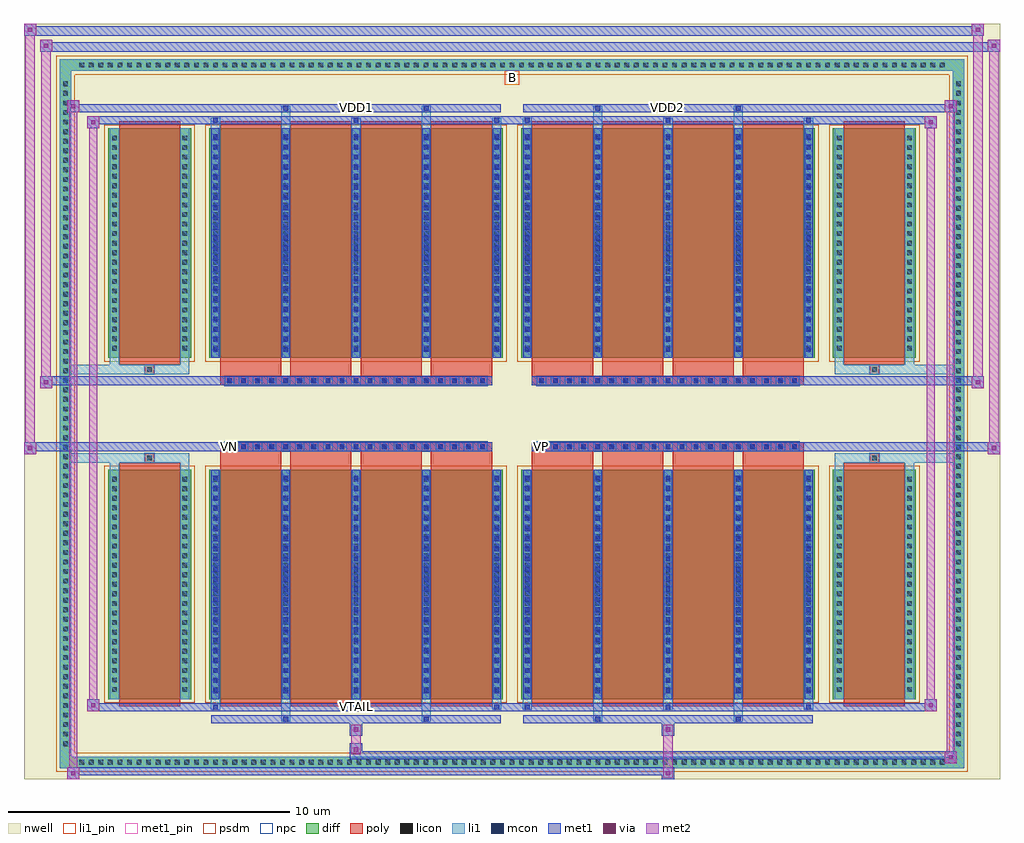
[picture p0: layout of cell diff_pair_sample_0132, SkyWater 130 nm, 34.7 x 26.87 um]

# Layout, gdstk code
import gdstk
lib = gdstk.Library(unit=1e-6, precision=5e-09)
def R(c, l, rs):  # rectangles x0, y0, x1, y1
    for r in rs: c.add(gdstk.rectangle(r[:2], r[2:], *l))
def A(c, l, x, y, w, h, nx, ny, dx, dy):  # array of equal rectangles
    R(c, l, [(x+i*dx, y+j*dy, x+i*dx+w, y+j*dy+h) for i in range(nx) for j in range(ny)])
def P(c, l, *ps):  # polygons
    for p in ps: c.add(gdstk.Polygon(p, *l))
nwell = (64, 20)
diff = (65, 20)
poly = (66, 20)
licon = (66, 44)
li1_pin = (67, 16)
li1 = (67, 20)
mcon = (67, 44)
met1_pin = (68, 16)
met1 = (68, 20)
via = (68, 44)
met2 = (69, 20)
psdm = (94, 20)
npc = (95, 20)

diff_pair_sample_0132 = lib.new_cell('diff_pair_sample_0132')
R(diff_pair_sample_0132, nwell, [(-17.35,-13,17.35,13.87), (-14.67,-11.19,-0.01,-0.805), (0.01,-11.19,14.67,-0.805), (-14.67,0.805,-0.01,11.19), (0.01,0.805,14.67,11.19)])
A(diff_pair_sample_0132, diff, -15.505, -12.6, 0.41, 0.41, 91, 2, 0.34, 24.79)
A(diff_pair_sample_0132, diff, -16.08, -11.935, 0.41, 0.41, 1, 70, 0, 0.34)
A(diff_pair_sample_0132, diff, 15.67, -11.935, 0.41, 0.41, 1, 70, 0, 0.34)
R(diff_pair_sample_0132, diff, [(-15.505,-12.6,15.505,-12.19), (-16.08,-11.935,-15.67,11.935), (15.67,-11.935,16.08,11.935), (-14.36,-10.145,-11.41,-1.985), (-10.77,-10.145,-0.32,-1.985), (0.32,-10.145,10.77,-1.985), (11.41,-10.145,14.36,-1.985), (-14.36,1.985,-11.41,10.145), (-10.77,1.985,-0.32,10.145), (0.32,1.985,10.77,10.145), (11.41,1.985,14.36,10.145), (-15.505,12.19,15.505,12.6)])
P(diff_pair_sample_0132, diff, [(16.08,12.6),(-16.08,12.6),(-16.08,-12.19),(-15.67,-12.19),(-15.67,12.19),(15.67,12.19),(15.67,-12.19),(-15.67,-12.19),(-16.08,-12.19),(-16.08,-12.6),(16.08,-12.6)])
A(diff_pair_sample_0132, poly, -10.38, -10.395, 2.17, 8.66, 4, 2, 2.5, 12.13)
A(diff_pair_sample_0132, poly, 0.71, -10.395, 2.17, 8.66, 4, 2, 2.5, 12.13)
A(diff_pair_sample_0132, poly, -10.38, -1.735, 2.17, 0.4, 4, 2, 2.5, 3.07)
A(diff_pair_sample_0132, poly, 0.71, -1.735, 2.17, 0.4, 4, 2, 2.5, 3.07)
A(diff_pair_sample_0132, poly, -10.21, -1.335, 0.33, 0.33, 19, 2, 0.5, 2.34)
A(diff_pair_sample_0132, poly, 0.88, -1.335, 0.33, 0.33, 19, 2, 0.5, 2.34)
R(diff_pair_sample_0132, poly, [(-13.97,-10.395,-11.8,-1.735), (11.8,-10.395,13.97,-1.735), (-13.05,-1.735,-12.72,-1.405), (-13.05,-1.735,-12.72,-1.405), (12.72,-1.735,13.05,-1.405), (12.72,-1.735,13.05,-1.405), (-10.38,-1.335,-0.71,-1.005), (0.71,-1.335,10.38,-1.005), (-10.38,1.005,-0.71,1.335), (0.71,1.005,10.38,1.335), (-13.05,1.405,-12.72,1.735), (-13.05,1.405,-12.72,1.735), (12.72,1.405,13.05,1.735), (12.72,1.405,13.05,1.735), (-13.97,1.735,-11.8,10.395), (11.8,1.735,13.97,10.395)])
A(diff_pair_sample_0132, licon, -15.385, -12.48, 0.17, 0.17, 91, 2, 0.34, 24.79)
A(diff_pair_sample_0132, licon, -15.96, -11.815, 0.17, 0.17, 1, 70, 0, 0.34)
A(diff_pair_sample_0132, licon, 15.79, -11.815, 0.17, 0.17, 1, 70, 0, 0.34)
A(diff_pair_sample_0132, licon, -14.22, -9.89, 0.17, 0.17, 1, 23, 0, 0.34)
A(diff_pair_sample_0132, licon, -11.72, -9.89, 0.17, 0.17, 1, 23, 0, 0.34)
A(diff_pair_sample_0132, licon, -10.63, -9.89, 0.17, 0.17, 5, 23, 2.5, 0.34)
A(diff_pair_sample_0132, licon, 0.46, -9.89, 0.17, 0.17, 5, 23, 2.5, 0.34)
A(diff_pair_sample_0132, licon, 11.55, -9.89, 0.17, 0.17, 1, 23, 0, 0.34)
A(diff_pair_sample_0132, licon, 14.05, -9.89, 0.17, 0.17, 1, 23, 0, 0.34)
A(diff_pair_sample_0132, licon, -10.13, -1.255, 0.17, 0.17, 19, 2, 0.5, 2.34)
A(diff_pair_sample_0132, licon, 0.96, -1.255, 0.17, 0.17, 19, 2, 0.5, 2.34)
A(diff_pair_sample_0132, licon, -14.22, 2.24, 0.17, 0.17, 1, 23, 0, 0.34)
A(diff_pair_sample_0132, licon, -11.72, 2.24, 0.17, 0.17, 1, 23, 0, 0.34)
A(diff_pair_sample_0132, licon, -10.63, 2.24, 0.17, 0.17, 5, 23, 2.5, 0.34)
A(diff_pair_sample_0132, licon, 0.46, 2.24, 0.17, 0.17, 5, 23, 2.5, 0.34)
A(diff_pair_sample_0132, licon, 11.55, 2.24, 0.17, 0.17, 1, 23, 0, 0.34)
A(diff_pair_sample_0132, licon, 14.05, 2.24, 0.17, 0.17, 1, 23, 0, 0.34)
R(diff_pair_sample_0132, licon, [(-12.97,-1.655,-12.8,-1.485), (12.8,-1.655,12.97,-1.485), (-12.97,1.485,-12.8,1.655), (12.8,1.485,12.97,1.655)])
R(diff_pair_sample_0132, li1_pin, [(-0.25,11.69,0.25,12.19)])
A(diff_pair_sample_0132, li1, -15.465, -12.56, 0.33, 0.33, 91, 2, 0.34, 24.79)
A(diff_pair_sample_0132, li1, -16.04, -11.895, 0.33, 0.33, 1, 70, 0, 0.34)
A(diff_pair_sample_0132, li1, 15.71, -11.895, 0.33, 0.33, 1, 70, 0, 0.34)
A(diff_pair_sample_0132, li1, -10.71, -10.52, 0.33, 0.375, 3, 2, 5, 20.665)
A(diff_pair_sample_0132, li1, -10.63, -10.52, 0.17, 0.17, 3, 2, 5, 20.87)
A(diff_pair_sample_0132, li1, 0.38, -10.52, 0.33, 0.375, 3, 2, 5, 20.665)
A(diff_pair_sample_0132, li1, 0.46, -10.52, 0.17, 0.17, 3, 2, 5, 20.87)
A(diff_pair_sample_0132, li1, -10.71, -10.145, 0.33, 8.16, 5, 2, 2.5, 12.13)
A(diff_pair_sample_0132, li1, 0.38, -10.145, 0.33, 8.16, 5, 2, 2.5, 12.13)
A(diff_pair_sample_0132, li1, -14.3, -9.97, 0.33, 0.33, 1, 23, 0, 0.34)
A(diff_pair_sample_0132, li1, -11.8, -9.97, 0.33, 0.33, 1, 23, 0, 0.34)
A(diff_pair_sample_0132, li1, -10.71, -9.97, 0.33, 0.33, 5, 23, 2.5, 0.34)
A(diff_pair_sample_0132, li1, 0.38, -9.97, 0.33, 0.33, 5, 23, 2.5, 0.34)
A(diff_pair_sample_0132, li1, 11.47, -9.97, 0.33, 0.33, 1, 23, 0, 0.34)
A(diff_pair_sample_0132, li1, 13.97, -9.97, 0.33, 0.33, 1, 23, 0, 0.34)
A(diff_pair_sample_0132, li1, -10.63, -9.93, 0.17, 0.17, 5, 22, 2.5, 0.36)
A(diff_pair_sample_0132, li1, -10.63, -9.93, 0.17, 7.73, 5, 2, 2.5, 12.13)
A(diff_pair_sample_0132, li1, 0.46, -9.93, 0.17, 0.17, 5, 22, 2.5, 0.36)
A(diff_pair_sample_0132, li1, 0.46, -9.93, 0.17, 7.73, 5, 2, 2.5, 12.13)
A(diff_pair_sample_0132, li1, -10.21, -1.335, 0.33, 0.33, 19, 2, 0.5, 2.34)
A(diff_pair_sample_0132, li1, 0.88, -1.335, 0.33, 0.33, 19, 2, 0.5, 2.34)
A(diff_pair_sample_0132, li1, -14.3, 2.16, 0.33, 0.33, 1, 23, 0, 0.34)
A(diff_pair_sample_0132, li1, -11.8, 2.16, 0.33, 0.33, 1, 23, 0, 0.34)
A(diff_pair_sample_0132, li1, -10.71, 2.16, 0.33, 0.33, 5, 23, 2.5, 0.34)
A(diff_pair_sample_0132, li1, 0.38, 2.16, 0.33, 0.33, 5, 23, 2.5, 0.34)
A(diff_pair_sample_0132, li1, 11.47, 2.16, 0.33, 0.33, 1, 23, 0, 0.34)
A(diff_pair_sample_0132, li1, 13.97, 2.16, 0.33, 0.33, 1, 23, 0, 0.34)
A(diff_pair_sample_0132, li1, -10.63, 2.2, 0.17, 0.17, 5, 22, 2.5, 0.36)
A(diff_pair_sample_0132, li1, 0.46, 2.2, 0.17, 0.17, 5, 22, 2.5, 0.36)
R(diff_pair_sample_0132, li1, [(-16.08,-12.6,-15.67,-12.19), (-16.08,-12.6,-15.67,-12.19), (-15.67,-12.6,15.67,-12.19), (15.67,-12.6,16.08,-12.19), (15.67,-12.6,16.08,-12.19), (-16.08,-12.19,-15.67,12.19), (15.67,-12.19,16.08,12.19), (-8.21,-10.95,-7.88,-10.145), (-8.13,-10.95,-7.96,-10.78), (-3.21,-10.95,-2.88,-10.145), (-3.13,-10.95,-2.96,-10.78), (2.88,-10.95,3.21,-10.145), (2.96,-10.95,3.13,-10.78), (7.88,-10.95,8.21,-10.145), (7.96,-10.95,8.13,-10.78), (-14.3,-10.145,-13.97,-1.985), (-11.8,-10.145,-11.47,-1.985), (11.47,-10.145,11.8,-1.985), (13.97,-10.145,14.3,-1.985), (-14.3,-1.985,-13.97,-1.405), (-11.8,-1.985,-11.47,-1.405), (11.47,-1.985,11.8,-1.405), (13.97,-1.985,14.3,-1.405), (-16.08,-1.735,-13.05,-1.405), (-14.3,-1.735,-13.05,-1.405), (-13.05,-1.735,-12.72,-1.405), (-12.72,-1.735,-11.47,-1.405), (11.47,-1.735,12.72,-1.405), (12.72,-1.735,13.05,-1.405), (12.72,-1.735,16.08,-1.405), (13.05,-1.735,14.3,-1.405), (-16.08,1.405,-13.05,1.735), (-14.3,1.405,-13.05,1.735), (-14.3,1.405,-13.97,1.985), (-13.05,1.405,-12.72,1.735), (-12.72,1.405,-11.47,1.735), (-11.8,1.405,-11.47,1.985), (11.47,1.405,12.72,1.735), (11.47,1.405,11.8,1.985), (12.72,1.405,13.05,1.735), (12.72,1.405,16.08,1.735), (13.05,1.405,14.3,1.735), (13.97,1.405,14.3,1.985), (-14.3,1.985,-13.97,10.145), (-11.8,1.985,-11.47,10.145), (11.47,1.985,11.8,10.145), (13.97,1.985,14.3,10.145), (-8.21,10.145,-7.88,10.95), (-3.21,10.145,-2.88,10.95), (2.88,10.145,3.21,10.95), (7.88,10.145,8.21,10.95), (-8.13,10.78,-7.96,10.95), (-3.13,10.78,-2.96,10.95), (2.96,10.78,3.13,10.95), (7.96,10.78,8.13,10.95), (-16.08,12.19,-15.67,12.6), (-16.08,12.19,-15.67,12.6), (-15.67,12.19,15.67,12.6), (15.67,12.19,16.08,12.6), (15.67,12.19,16.08,12.6)])
A(diff_pair_sample_0132, mcon, -10.63, -10.52, 0.17, 0.17, 3, 2, 5, 20.87)
A(diff_pair_sample_0132, mcon, 0.46, -10.52, 0.17, 0.17, 3, 2, 5, 20.87)
A(diff_pair_sample_0132, mcon, -10.63, -9.93, 0.17, 0.17, 5, 22, 2.5, 0.36)
A(diff_pair_sample_0132, mcon, 0.46, -9.93, 0.17, 0.17, 5, 22, 2.5, 0.36)
A(diff_pair_sample_0132, mcon, -10.13, -1.255, 0.17, 0.17, 19, 2, 0.5, 2.34)
A(diff_pair_sample_0132, mcon, 0.96, -1.255, 0.17, 0.17, 19, 2, 0.5, 2.34)
A(diff_pair_sample_0132, mcon, -10.63, 2.2, 0.17, 0.17, 5, 22, 2.5, 0.36)
A(diff_pair_sample_0132, mcon, 0.46, 2.2, 0.17, 0.17, 5, 22, 2.5, 0.36)
R(diff_pair_sample_0132, mcon, [(-8.13,-10.95,-7.96,-10.78), (-3.13,-10.95,-2.96,-10.78), (2.96,-10.95,3.13,-10.78), (7.96,-10.95,8.13,-10.78), (-8.13,10.78,-7.96,10.95), (-3.13,10.78,-2.96,10.95), (2.96,10.78,3.13,10.95), (7.96,10.78,8.13,10.95)])
R(diff_pair_sample_0132, met1_pin, [(-5.68,-10.56,-5.41,-10.29), (-10.18,-1.295,-9.91,-1.025), (0.91,-1.295,1.18,-1.025), (-5.68,10.74,-5.41,11.01), (5.41,10.74,5.68,11.01)])
A(diff_pair_sample_0132, met1, -10.69, -10.58, 0.29, 0.29, 3, 2, 5, 20.87)
A(diff_pair_sample_0132, met1, 0.4, -10.58, 0.29, 0.29, 3, 2, 5, 20.87)
A(diff_pair_sample_0132, met1, -10.69, -10.145, 0.29, 8.16, 5, 2, 2.5, 12.13)
A(diff_pair_sample_0132, met1, 0.4, -10.145, 0.29, 8.16, 5, 2, 2.5, 12.13)
A(diff_pair_sample_0132, met1, -10.69, -9.99, 0.29, 0.29, 5, 22, 2.5, 0.36)
A(diff_pair_sample_0132, met1, 0.4, -9.99, 0.29, 0.29, 5, 22, 2.5, 0.36)
A(diff_pair_sample_0132, met1, -10.19, -1.315, 0.29, 0.29, 19, 2, 0.5, 2.34)
A(diff_pair_sample_0132, met1, 0.9, -1.315, 0.29, 0.29, 19, 2, 0.5, 2.34)
A(diff_pair_sample_0132, met1, -10.69, 2.14, 0.29, 0.29, 5, 22, 2.5, 0.36)
A(diff_pair_sample_0132, met1, 0.4, 2.14, 0.29, 0.29, 5, 22, 2.5, 0.36)
R(diff_pair_sample_0132, met1, [(-15.81,-13,-15.38,-12.57), (5.33,-13,5.76,-12.57), (-15.81,-12.86,5.76,-12.57), (15.38,-12.43,15.81,-12), (-5.76,-12.29,15.81,-12), (-5.76,-12.15,-5.33,-11.72), (-5.76,-11.44,-5.33,-11.01), (5.33,-11.44,5.76,-11.01), (-10.69,-11.01,-0.4,-10.72), (-8.19,-11.01,-7.9,-10.72), (-3.19,-11.01,-2.9,-10.72), (0.4,-11.01,10.69,-10.72), (2.9,-11.01,3.19,-10.72), (7.9,-11.01,8.19,-10.72), (-15.1,-10.58,-14.67,-10.15), (-15.1,-10.58,-10.69,-10.29), (-10.69,-10.58,-0.4,-10.29), (-0.4,-10.58,0.4,-10.29), (0.4,-10.58,10.69,-10.29), (10.69,-10.58,15.1,-10.29), (14.67,-10.58,15.1,-10.15), (-17.35,-1.435,-16.92,-1.005), (16.92,-1.435,17.35,-1.005), (-17.35,-1.335,-0.71,-1.005), (-10.38,-1.335,-0.71,-1.005), (0.71,-1.335,10.38,-1.005), (0.71,-1.335,17.35,-1.005), (-16.78,0.905,-16.35,1.335), (16.35,0.905,16.78,1.335), (-16.78,1.005,-10.38,1.335), (-10.38,1.005,-0.71,1.335), (0.71,1.005,10.38,1.335), (10.38,1.005,16.78,1.335), (-15.1,10.15,-14.67,10.58), (14.67,10.15,15.1,10.58), (-15.1,10.29,-10.69,10.58), (-10.69,10.29,-0.4,10.58), (-0.4,10.29,0.4,10.58), (0.4,10.29,10.69,10.58), (10.69,10.29,15.1,10.58), (-15.81,10.72,-15.38,11.15), (-15.81,10.72,-10.69,11.01), (-10.69,10.72,-0.4,11.01), (-8.19,10.72,-7.9,11.01), (-3.19,10.72,-2.9,11.01), (0.4,10.72,10.69,11.01), (2.9,10.72,3.19,11.01), (7.9,10.72,8.19,11.01), (10.69,10.72,15.81,11.01), (15.38,10.72,15.81,11.15), (-16.78,12.87,-16.35,13.3), (-16.78,12.87,-14.67,13.2), (-14.67,12.87,14.67,13.2), (14.67,12.87,17.35,13.2), (16.92,12.87,17.35,13.3), (-17.35,13.44,-16.92,13.87), (-17.35,13.44,-14.67,13.77), (-14.67,13.44,14.67,13.77), (14.67,13.44,16.78,13.77), (16.35,13.44,16.78,13.87)])
R(diff_pair_sample_0132, via, [(-15.67,-12.86,-15.52,-12.71), (5.47,-12.86,5.62,-12.71), (15.52,-12.29,15.67,-12.14), (-5.62,-12.01,-5.47,-11.86), (-5.62,-11.3,-5.47,-11.15), (5.47,-11.3,5.62,-11.15), (-14.96,-10.44,-14.81,-10.29), (14.81,-10.44,14.96,-10.29), (-17.21,-1.295,-17.06,-1.145), (17.06,-1.295,17.21,-1.145), (-16.64,1.045,-16.49,1.195), (16.49,1.045,16.64,1.195), (-14.96,10.29,-14.81,10.44), (14.81,10.29,14.96,10.44), (-15.67,10.86,-15.52,11.01), (15.52,10.86,15.67,11.01), (-16.64,13.01,-16.49,13.16), (17.06,13.01,17.21,13.16), (-17.21,13.58,-17.06,13.73), (16.49,13.58,16.64,13.73)])
R(diff_pair_sample_0132, met2, [(-15.81,-13,-15.38,-12.57), (-15.74,-13,-15.45,11.15), (-15.45,-13,-15.38,-12.57), (-15.76,-12.95,-15.43,-12.62), (5.38,-12.95,5.71,-12.62), (5.38,-12.62,5.71,-11.39), (15.38,-12.43,15.81,-12), (15.45,-12.43,15.74,11.15), (15.74,-12.43,15.81,-12), (15.43,-12.38,15.76,-12.05), (-5.71,-12.1,-5.38,-11.77), (-5.71,-11.77,-5.38,-11.39), (-5.71,-11.39,-5.38,-11.06), (5.38,-11.39,5.71,-11.06), (-15.1,-10.58,-14.67,-10.15), (-15.03,-10.58,-14.74,10.58), (-14.74,-10.58,-14.67,-10.15), (14.67,-10.58,15.1,-10.15), (14.74,-10.58,15.03,10.58), (15.03,-10.58,15.1,-10.15), (-15.05,-10.53,-14.72,-10.2), (14.72,-10.53,15.05,-10.2), (-17.35,-1.435,-16.92,-1.005), (-17.3,-1.435,-16.97,13.87), (-16.97,-1.435,-16.92,-1.005), (16.92,-1.435,17.35,-1.005), (16.97,-1.435,17.3,13.3), (17.3,-1.435,17.35,-1.005), (-17.3,-1.385,-16.97,-1.055), (16.97,-1.385,17.3,-1.055), (-16.78,0.905,-16.35,1.335), (-16.73,0.905,-16.4,13.3), (-16.4,0.905,-16.35,1.335), (16.35,0.905,16.78,1.335), (16.4,0.905,16.73,13.87), (16.73,0.905,16.78,1.335), (-16.73,0.955,-16.4,1.285), (16.4,0.955,16.73,1.285), (-15.1,10.15,-14.67,10.58), (-14.74,10.15,-14.67,10.58), (14.67,10.15,15.1,10.58), (15.03,10.15,15.1,10.58), (-15.05,10.2,-14.72,10.53), (14.72,10.2,15.05,10.53), (-15.81,10.72,-15.38,11.15), (-15.45,10.72,-15.38,11.15), (15.38,10.72,15.81,11.15), (15.74,10.72,15.81,11.15), (-15.76,10.77,-15.43,11.1), (15.43,10.77,15.76,11.1), (-16.78,12.87,-16.35,13.3), (-16.4,12.87,-16.35,13.3), (16.92,12.87,17.35,13.3), (17.3,12.87,17.35,13.3), (-16.73,12.92,-16.4,13.25), (16.97,12.92,17.3,13.25), (-17.35,13.44,-16.92,13.87), (-16.97,13.44,-16.92,13.87), (16.35,13.44,16.78,13.87), (16.73,13.44,16.78,13.87), (-17.3,13.49,-16.97,13.82), (16.4,13.49,16.73,13.82)])
R(diff_pair_sample_0132, psdm, [(-14.49,-10.275,-11.28,-1.855), (-10.9,-10.275,-0.19,-1.855), (0.19,-10.275,10.9,-1.855), (11.28,-10.275,14.49,-1.855), (-14.49,1.855,-11.28,10.275), (-10.9,1.855,-0.19,10.275), (0.19,1.855,10.9,10.275), (11.28,1.855,14.49,10.275)])
P(diff_pair_sample_0132, psdm, [(16.21,12.73),(-16.21,12.73),(-16.21,-12.06),(-15.54,-12.06),(-15.54,12.06),(15.54,12.06),(15.54,-12.06),(-15.54,-12.06),(-16.21,-12.06),(-16.21,-12.73),(16.21,-12.73)])
A(diff_pair_sample_0132, npc, -10.23, -1.355, 0.37, 0.37, 19, 2, 0.5, 2.34)
A(diff_pair_sample_0132, npc, 0.86, -1.355, 0.37, 0.37, 19, 2, 0.5, 2.34)
R(diff_pair_sample_0132, npc, [(-13.07,-1.755,-12.7,-1.385), (12.7,-1.755,13.07,-1.385), (-10.23,-1.355,-9.36,-0.985), (-10.23,-1.355,-9.36,-0.985), (-9.73,-1.355,-8.86,-0.985), (-9.73,-1.355,-8.86,-0.985), (-9.23,-1.355,-8.36,-0.985), (-9.23,-1.355,-8.36,-0.985), (-8.73,-1.355,-7.86,-0.985), (-8.73,-1.355,-7.86,-0.985), (-8.23,-1.355,-7.36,-0.985), (-8.23,-1.355,-7.36,-0.985), (-7.73,-1.355,-6.86,-0.985), (-7.73,-1.355,-6.86,-0.985), (-7.23,-1.355,-6.36,-0.985), (-7.23,-1.355,-6.36,-0.985), (-6.73,-1.355,-5.86,-0.985), (-6.73,-1.355,-5.86,-0.985), (-6.23,-1.355,-5.36,-0.985), (-6.23,-1.355,-5.36,-0.985), (-5.73,-1.355,-4.86,-0.985), (-5.73,-1.355,-4.86,-0.985), (-5.23,-1.355,-4.36,-0.985), (-5.23,-1.355,-4.36,-0.985), (-4.73,-1.355,-3.86,-0.985), (-4.73,-1.355,-3.86,-0.985), (-4.23,-1.355,-3.36,-0.985), (-4.23,-1.355,-3.36,-0.985), (-3.73,-1.355,-2.86,-0.985), (-3.73,-1.355,-2.86,-0.985), (-3.23,-1.355,-2.36,-0.985), (-3.23,-1.355,-2.36,-0.985), (-2.73,-1.355,-1.86,-0.985), (-2.73,-1.355,-1.86,-0.985), (-2.23,-1.355,-1.36,-0.985), (-2.23,-1.355,-1.36,-0.985), (-1.73,-1.355,-0.86,-0.985), (-1.73,-1.355,-0.86,-0.985), (0.86,-1.355,1.73,-0.985), (0.86,-1.355,1.73,-0.985), (1.36,-1.355,2.23,-0.985), (1.36,-1.355,2.23,-0.985), (1.86,-1.355,2.73,-0.985), (1.86,-1.355,2.73,-0.985), (2.36,-1.355,3.23,-0.985), (2.36,-1.355,3.23,-0.985), (2.86,-1.355,3.73,-0.985), (2.86,-1.355,3.73,-0.985), (3.36,-1.355,4.23,-0.985), (3.36,-1.355,4.23,-0.985), (3.86,-1.355,4.73,-0.985), (3.86,-1.355,4.73,-0.985), (4.36,-1.355,5.23,-0.985), (4.36,-1.355,5.23,-0.985), (4.86,-1.355,5.73,-0.985), (4.86,-1.355,5.73,-0.985), (5.36,-1.355,6.23,-0.985), (5.36,-1.355,6.23,-0.985), (5.86,-1.355,6.73,-0.985), (5.86,-1.355,6.73,-0.985), (6.36,-1.355,7.23,-0.985), (6.36,-1.355,7.23,-0.985), (6.86,-1.355,7.73,-0.985), (6.86,-1.355,7.73,-0.985), (7.36,-1.355,8.23,-0.985), (7.36,-1.355,8.23,-0.985), (7.86,-1.355,8.73,-0.985), (7.86,-1.355,8.73,-0.985), (8.36,-1.355,9.23,-0.985), (8.36,-1.355,9.23,-0.985), (8.86,-1.355,9.73,-0.985), (8.86,-1.355,9.73,-0.985), (9.36,-1.355,10.23,-0.985), (9.36,-1.355,10.23,-0.985), (-10.23,0.985,-9.36,1.355), (-10.23,0.985,-9.36,1.355), (-9.73,0.985,-8.86,1.355), (-9.73,0.985,-8.86,1.355), (-9.23,0.985,-8.36,1.355), (-9.23,0.985,-8.36,1.355), (-8.73,0.985,-7.86,1.355), (-8.73,0.985,-7.86,1.355), (-8.23,0.985,-7.36,1.355), (-8.23,0.985,-7.36,1.355), (-7.73,0.985,-6.86,1.355), (-7.73,0.985,-6.86,1.355), (-7.23,0.985,-6.36,1.355), (-7.23,0.985,-6.36,1.355), (-6.73,0.985,-5.86,1.355), (-6.73,0.985,-5.86,1.355), (-6.23,0.985,-5.36,1.355), (-6.23,0.985,-5.36,1.355), (-5.73,0.985,-4.86,1.355), (-5.73,0.985,-4.86,1.355), (-5.23,0.985,-4.36,1.355), (-5.23,0.985,-4.36,1.355), (-4.73,0.985,-3.86,1.355), (-4.73,0.985,-3.86,1.355), (-4.23,0.985,-3.36,1.355), (-4.23,0.985,-3.36,1.355), (-3.73,0.985,-2.86,1.355), (-3.73,0.985,-2.86,1.355), (-3.23,0.985,-2.36,1.355), (-3.23,0.985,-2.36,1.355), (-2.73,0.985,-1.86,1.355), (-2.73,0.985,-1.86,1.355), (-2.23,0.985,-1.36,1.355), (-2.23,0.985,-1.36,1.355), (-1.73,0.985,-0.86,1.355), (-1.73,0.985,-0.86,1.355), (0.86,0.985,1.73,1.355), (0.86,0.985,1.73,1.355), (1.36,0.985,2.23,1.355), (1.36,0.985,2.23,1.355), (1.86,0.985,2.73,1.355), (1.86,0.985,2.73,1.355), (2.36,0.985,3.23,1.355), (2.36,0.985,3.23,1.355), (2.86,0.985,3.73,1.355), (2.86,0.985,3.73,1.355), (3.36,0.985,4.23,1.355), (3.36,0.985,4.23,1.355), (3.86,0.985,4.73,1.355), (3.86,0.985,4.73,1.355), (4.36,0.985,5.23,1.355), (4.36,0.985,5.23,1.355), (4.86,0.985,5.73,1.355), (4.86,0.985,5.73,1.355), (5.36,0.985,6.23,1.355), (5.36,0.985,6.23,1.355), (5.86,0.985,6.73,1.355), (5.86,0.985,6.73,1.355), (6.36,0.985,7.23,1.355), (6.36,0.985,7.23,1.355), (6.86,0.985,7.73,1.355), (6.86,0.985,7.73,1.355), (7.36,0.985,8.23,1.355), (7.36,0.985,8.23,1.355), (7.86,0.985,8.73,1.355), (7.86,0.985,8.73,1.355), (8.36,0.985,9.23,1.355), (8.36,0.985,9.23,1.355), (8.86,0.985,9.73,1.355), (8.86,0.985,9.73,1.355), (9.36,0.985,10.23,1.355), (9.36,0.985,10.23,1.355), (-13.07,1.385,-12.7,1.755), (12.7,1.385,13.07,1.755)])
diff_pair_sample_0132.add(gdstk.Label('VTAIL', (-5.545,-10.425), layer=68, texttype=5))
diff_pair_sample_0132.add(gdstk.Label('VN', (-10.045,-1.16), layer=68, texttype=5))
diff_pair_sample_0132.add(gdstk.Label('VP', (1.045,-1.16), layer=68, texttype=5))
diff_pair_sample_0132.add(gdstk.Label('B', (0,11.94), layer=67, texttype=5))
diff_pair_sample_0132.add(gdstk.Label('VDD2', (5.545,10.875), layer=68, texttype=5))
diff_pair_sample_0132.add(gdstk.Label('VDD1', (-5.545,10.875), layer=68, texttype=5))

lib.write_gds('diff_pair_sample_0132.gds')
